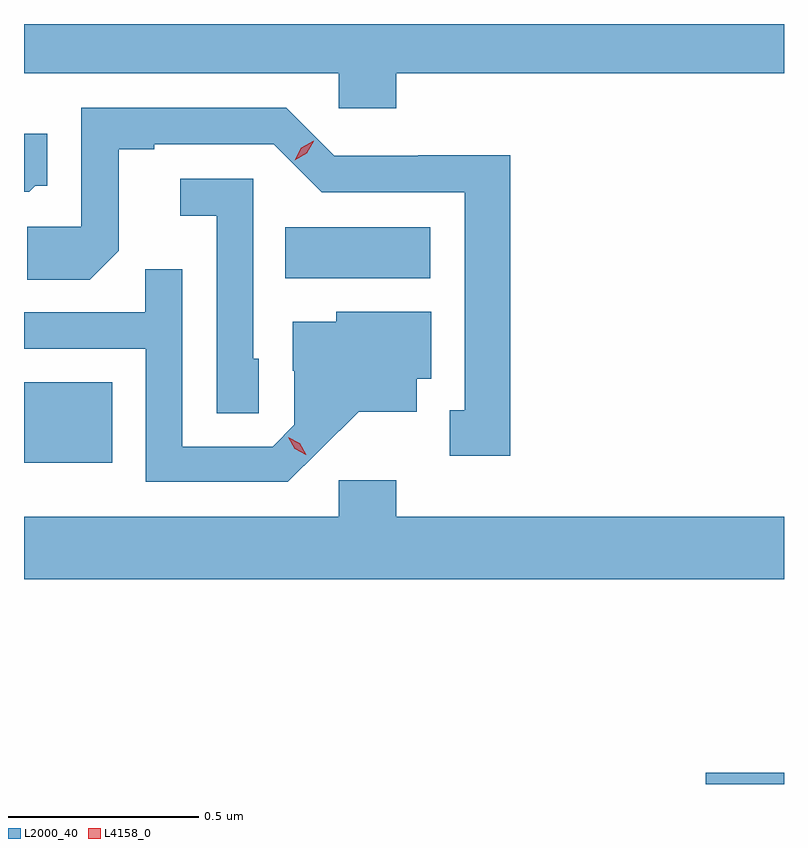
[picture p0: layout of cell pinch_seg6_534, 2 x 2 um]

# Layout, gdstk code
import gdstk
lib = gdstk.Library(unit=1e-6, precision=1e-09)
def R(c, l, rs):  # rectangles x0, y0, x1, y1
    for r in rs: c.add(gdstk.rectangle(r[:2], r[2:], *l))
def P(c, l, *ps):  # polygons
    for p in ps: c.add(gdstk.Polygon(p, *l))
L2000_40 = (2000, 40)
L4158_0 = (4158, 0)

pinch_seg6_534 = lib.new_cell('pinch_seg6_534')
R(pinch_seg6_534, L2000_40, [(760.962,937.473,761.168,937.502), (759.168,938.318,759.4,938.53), (759.856,938.804,760.237,938.938)])
P(pinch_seg6_534, L2000_40, [(760.148,939.344),(761.168,939.344),(761.168,939.473),(759.168,939.473),(759.168,939.344),(759.996,939.344),(759.996,939.251),(760.148,939.251)],
  [(760.447,939.128),(760.206,939.128),(760.206,939.126),(759.984,939.126),(759.858,939.252),(759.318,939.252),(759.318,938.94),(759.177,938.94),(759.177,938.8),(759.341,938.8),(759.417,938.876),(759.417,939.144),(759.511,939.144),(759.511,939.156),(759.825,939.156),(759.951,939.03),(760.328,939.03),(760.328,938.457),(760.289,938.457),(760.289,938.337),(760.447,938.337)],
  [(759.198,939.048),(759.229,939.048),(759.229,939.184),(759.168,939.184),(759.168,939.032),(759.182,939.032)],
  [(759.786,938.592),(759.771,938.592),(759.771,939.066),(759.579,939.066),(759.579,938.969),(759.675,938.969),(759.675,938.449),(759.786,938.449)],
  [(759.946,938.351),(760.049,938.453),(760.201,938.453),(760.201,938.54),(760.24,938.54),(760.24,938.716),(759.99,938.716),(759.99,938.689),(759.875,938.689),(759.875,938.56),(759.879,938.56),(759.879,938.418),(759.822,938.361),(759.585,938.361),(759.585,938.828),(759.487,938.828),(759.487,938.715),(759.168,938.715),(759.168,938.619),(759.489,938.619),(759.489,938.268),(759.862,938.268)],
  [(761.168,938.176),(760.148,938.176),(760.148,938.272),(759.996,938.272),(759.996,938.176),(759.168,938.176),(759.168,938.012),(761.168,938.012)])
P(pinch_seg6_534, L4158_0, [(759.88,939.114),(759.88,939.114),(759.898,939.147),(759.93,939.166),(759.93,939.166),(759.93,939.165),(759.912,939.133),(759.881,939.114)],
  [(759.91,938.34),(759.88,938.355),(759.863,938.385),(759.863,938.385),(759.863,938.385),(759.894,938.37),(759.911,938.34),(759.911,938.34)])

lib.write_gds('pinch_seg6_534.gds')
